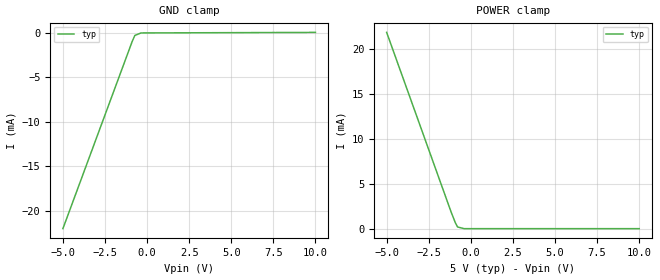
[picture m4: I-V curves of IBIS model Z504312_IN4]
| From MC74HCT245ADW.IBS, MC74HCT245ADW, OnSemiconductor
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| (C) COPYRIGHT 1993-2000
| MENTOR GRAPHICS CORPORATION
| ICX STANDARD LIBRARY, ICX PROJECT MODELING,
| ICX CUSTOM MODELING, ICX VENDOR MODEL
| ALL RIGHTS RESERVED.
| THE FOLLOWING ARE TRADEMARKS OR SERVICE MARKS OF
| MENTOR GRAPHICS CORPORATION:ICX (R), ICX STANDARD
| LIBRARY(R), ICX PROJECT MODELING(R), ICX CUSTOM
| MODELING(R), qualityIBIS(TM), MODELVIEWER(TM),
| AND MODELEDITOR(TM)
| ALL COPIES OF SOFTWARE, INCLUDING BUT NOT LIMITED TO
| ANY MODIFICATIONS, ENHANCEMENTS OR DERIVATIVE WORKS,
| MUST CONTAIN ALL MENTOR GRAPHICS CORPORATION'S
| NOTICES AND LEGENDS, INCLUDING THOSE EMBEDDED IN
| SOFTWARE AND THOSE AFFIXED TO SOFTWARE MEDIUM
| AND CONTAINER, AS RECEIVED FROM MENTOR GRAPHICS
| CORPORATION.
| Model Application Version 1.89 2/18/99.
[Model] Z504312_IN4
Model_type Input
Vinl = 800.0mV
Vinh = 2.000V
C_comp 4.000pF NA NA
| variable typ   min   max
[Voltage Range] 5.000V NA NA
[GND Clamp Reference] 0.000V NA NA
[POWER Clamp Reference] 5.000V NA NA
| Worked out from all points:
|   POWER clamp passes 1 mA (typ) near -0.99 V on its own axis
[GND Clamp]
-5V       -22.03mA   NA         NA
-878.8mV  -956.2uA   NA         NA
-727.8mV  -312.3uA   NA         NA
-363.9mV  -28.13uA   NA         NA
10V       33uA       NA         NA
[POWER Clamp]
-5V       21.82mA    NA         NA
-1.172V   1.855mA    NA         NA
-923mV    671.2uA    NA         NA
-791mV    191.8uA    NA         NA
-395.5mV  0A         NA         NA
10V       0A         NA         NA
